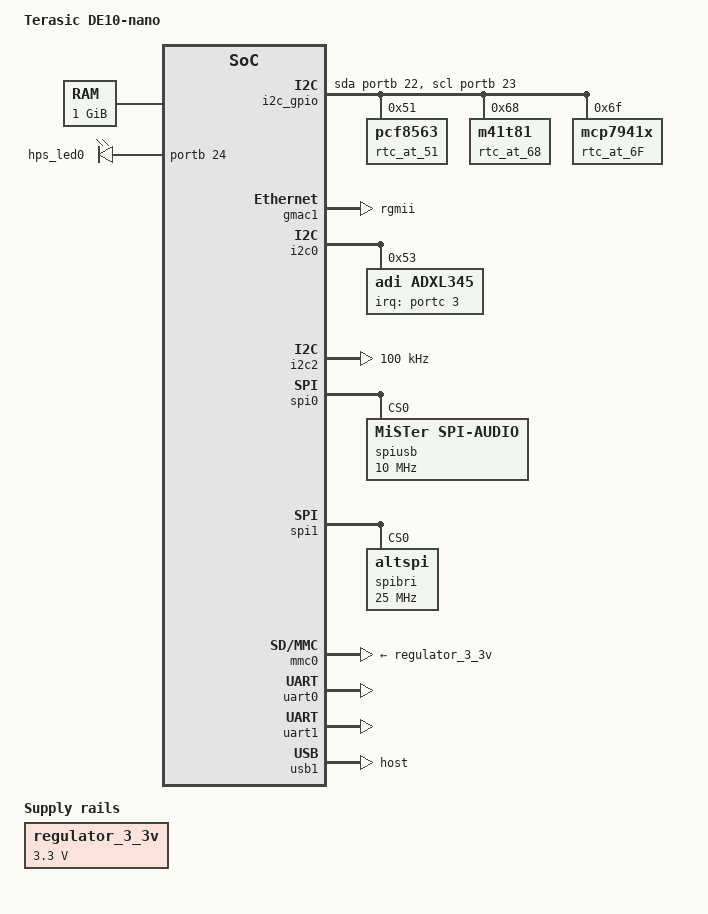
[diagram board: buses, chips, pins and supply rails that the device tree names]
/*
 * Copyright Altera Corporation (C) 2015. All rights reserved.
 *
 * This program is free software; you can redistribute it and/or modify
 * it under the terms and conditions of the GNU General Public License,
 * version 2, as published by the Free Software Foundation.
 *
 * This program is distributed in the hope it will be useful, but WITHOUT
 * ANY WARRANTY; without even the implied warranty of MERCHANTABILITY or
 * FITNESS FOR A PARTICULAR PURPOSE.  See the GNU General Public License for
 * more details.
 *
 * You should have received a copy of the GNU General Public License along with
 * this program.  If not, see <http://www.gnu.org/licenses/>.
 */

#include "socfpga_cyclone5.dtsi"
#include <dt-bindings/gpio/gpio.h>

/ {
	model = "Terasic DE10-nano";
	compatible = "altr,socfpga-cyclone5", "altr,socfpga";

	chosen {
		bootargs = "earlyprintk";
		stdout-path = "serial0:115200n8";
	};

	memory {
		name = "memory";
		device_type = "memory";
		reg = <0x0 0x40000000>; /* 1GB */
	};

	aliases {
		ethernet0 = &gmac1;
	};

	regulator_3_3v: 3-3-v-regulator {
		compatible = "regulator-fixed";
		regulator-name = "3.3V";
		regulator-min-microvolt = <3300000>;
		regulator-max-microvolt = <3300000>;
	};

	leds {
		compatible = "gpio-leds";
		hps0 {
			label = "hps_led0";
			gpios = <&portb 24 0>;
			linux,default-trigger = "mmc0";
		};
	};
/*
	ltcmode {
		compatible = "gpio-leds";
		ltcsw {
			label = "ltc_sw";
			gpios = <&portb 11 0>;
			default-state = "off";
		};
	};
*/

	i2c_gpio {
		#address-cells = <1>;
		#size-cells = <0>;
		compatible = "i2c-gpio";
		gpios = <&portb 22 (GPIO_ACTIVE_HIGH|GPIO_OPEN_DRAIN)
                         &portb 23 (GPIO_ACTIVE_HIGH|GPIO_OPEN_DRAIN)>;
		i2c-gpio,delay-us = <2>;

		rtc_at_51 {
                	compatible = "pcf8563";
                	reg = <0x51>;
		};
		rtc_at_68 {
		        compatible = "m41t81";
		        reg = <0x68>;
		};
		rtc_at_6F {
		        compatible = "mcp7941x";
		        reg = <0x6F>;
		};
	};

	MiSTer_fb {
		compatible = "MiSTer_fb";
		reg = <0x22000000 0x800000>; 
		interrupt-parent = <&intc>;
		interrupts = < 0 40 1 >;
	};
};

&gmac1 {
	status = "okay";
	phy-mode = "rgmii";

	txd0-skew-ps = <0>; /* -420ps */
	txd1-skew-ps = <0>; /* -420ps */
	txd2-skew-ps = <0>; /* -420ps */
	txd3-skew-ps = <0>; /* -420ps */
	rxd0-skew-ps = <420>; /* 0ps */
	rxd1-skew-ps = <420>; /* 0ps */
	rxd2-skew-ps = <420>; /* 0ps */
	rxd3-skew-ps = <420>; /* 0ps */
	txen-skew-ps = <0>; /* -420ps */
	txc-skew-ps = <1860>; /* 960ps */
	rxdv-skew-ps = <420>; /* 0ps */
	rxc-skew-ps = <1680>; /* 780ps */

	max-frame-size = <3800>;
};

&gpio0 {
	status = "okay";
};

&gpio1 {
	status = "okay";
};

&gpio2 {
	status = "okay";
};

&i2c0 {
	status = "okay";
	speed-mode = <0>;

	adxl345: adxl345@53 {
		compatible = "adi,adxl345";
		reg = <0x53>;

		interrupt-parent = <&portc>;
		interrupts = <3 2>;
	};
};

&i2c2 {
	status = "okay";
	clock-frequency = <100000>;
	speed-mode = <0>;
};

&spi0 {
	status = "okay";
	timeouts = <3>;
	spiusb@0 {
		compatible = "MiSTer,spi-audio";
		reg = <0>;
		spi-max-frequency = <10000000>;
		spi-cpha;
		spi-cpol;
		status = "okay";
	};
};

&spi1 {
	status = "okay";
	timeouts = <3>;
	spibri@0 {
		status = "okay";
		compatible = "altspi";
		spi-max-frequency = <25000000>;
		reg = <0>;
	};
};

&mmc0 {
	vmmc-supply = <&regulator_3_3v>;
	vqmmc-supply = <&regulator_3_3v>;
	status = "okay";
};

&uart0 {
	/delete-property/dmas;
	/delete-property/dma-names;
	status = "okay";
};

&uart1 {
	/delete-property/dmas;
	/delete-property/dma-names;
	status = "okay";
};

&usb1 {
	disable-over-current;
	dr_mode = "host";
	status = "okay";
};

&fpga_bridge0 {
	status = "okay";
};

&fpga_bridge1 {
	status = "okay";
};

&fpga_bridge2 {
	status = "okay";
};

